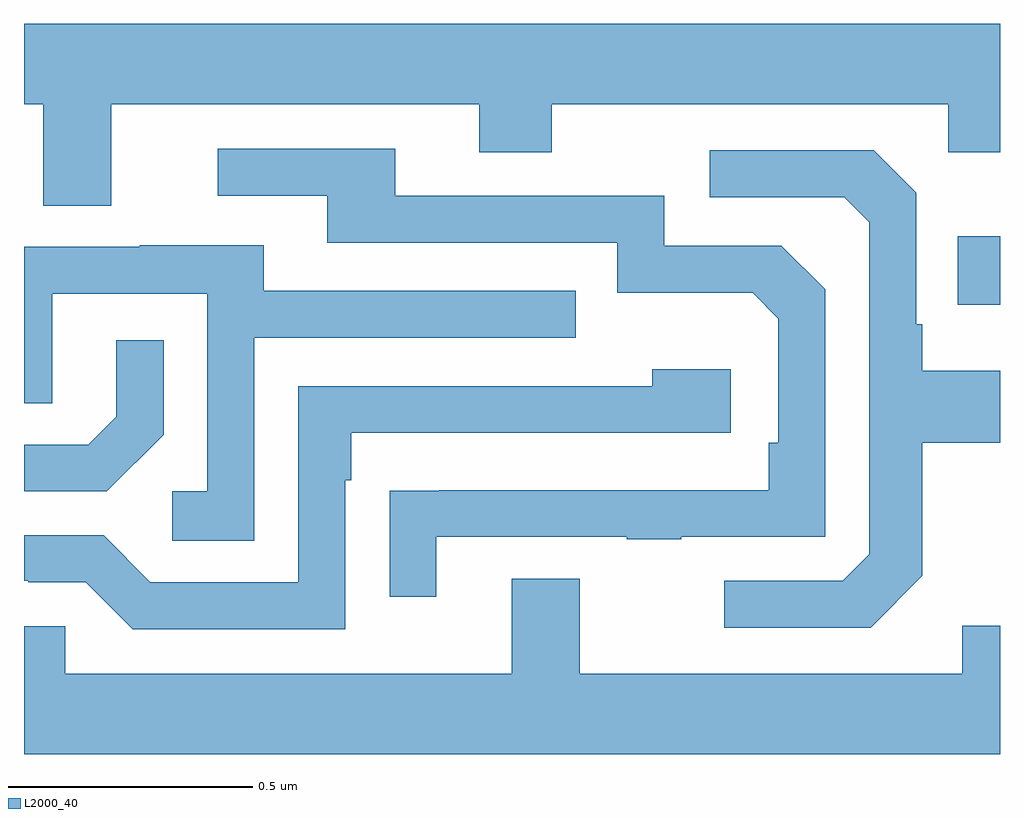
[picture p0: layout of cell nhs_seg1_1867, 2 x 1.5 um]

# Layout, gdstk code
import gdstk
lib = gdstk.Library(unit=1e-6, precision=1e-09)
def R(c, l, rs):  # rectangles x0, y0, x1, y1
    for r in rs: c.add(gdstk.rectangle(r[:2], r[2:], *l))
def P(c, l, *ps):  # polygons
    for p in ps: c.add(gdstk.Polygon(p, *l))
L2000_40 = (2000, 40)

nhs_seg1_1867 = lib.new_cell('nhs_seg1_1867')
R(nhs_seg1_1867, L2000_40, [(135.913,555.317,136,555.457)])
P(nhs_seg1_1867, L2000_40, [(134.179,555.728),(134.933,555.728),(134.933,555.629),(135.081,555.629),(135.081,555.728),(135.894,555.728),(135.894,555.629),(136,555.629),(136,555.892),(134,555.892),(134,555.728),(134.039,555.728),(134.039,555.52),(134.179,555.52)],
  [(134.845,554.841),(135.235,554.841),(135.235,554.836),(135.347,554.836),(135.347,554.841),(135.642,554.841),(135.642,555.348),(135.552,555.438),(135.312,555.438),(135.312,555.54),(134.761,555.54),(134.761,555.636),(134.397,555.636),(134.397,555.54),(134.621,555.54),(134.621,555.444),(135.216,555.444),(135.216,555.341),(135.493,555.341),(135.546,555.288),(135.546,555.034),(135.526,555.034),(135.526,554.937),(134.851,554.937),(134.851,554.936),(134.749,554.936),(134.749,554.718),(134.845,554.718)],
  [(135.841,554.761),(135.841,555.034),(136,555.034),(136,555.181),(135.841,555.181),(135.841,555.277),(135.828,555.277),(135.828,555.546),(135.741,555.633),(135.405,555.633),(135.405,555.537),(135.681,555.537),(135.732,555.486),(135.732,554.805),(135.678,554.751),(135.435,554.751),(135.435,554.655),(135.735,554.655)],
  [(134.472,555.249),(135.131,555.249),(135.131,555.345),(134.491,555.345),(134.491,555.439),(134.237,555.439),(134.237,555.435),(134,555.435),(134,555.115),(134.058,555.115),(134.058,555.339),(134.376,555.339),(134.376,554.934),(134.304,554.934),(134.304,554.833),(134.472,554.833)],
  [(134.286,555.05),(134.286,555.244),(134.189,555.244),(134.189,555.087),(134.132,555.03),(134,555.03),(134,554.934),(134.17,554.934)],
  [(134.658,554.957),(134.671,554.957),(134.671,555.054),(135.448,555.054),(135.448,555.184),(135.287,555.184),(135.287,555.15),(134.562,555.15),(134.562,554.748),(134.259,554.748),(134.163,554.844),(134,554.844),(134,554.751),(134.009,554.751),(134.009,554.748),(134.127,554.748),(134.223,554.652),(134.658,554.652)],
  [(134.999,554.755),(134.999,554.56),(134.085,554.56),(134.085,554.658),(134,554.658),(134,554.396),(136,554.396),(136,554.659),(135.923,554.659),(135.923,554.56),(135.139,554.56),(135.139,554.755)])

lib.write_gds('nhs_seg1_1867.gds')
